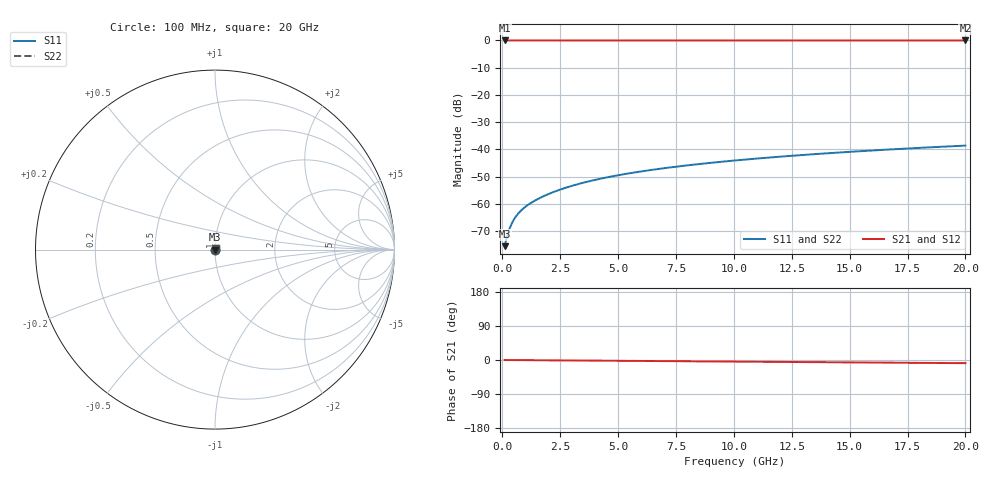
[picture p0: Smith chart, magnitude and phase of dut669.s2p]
! Touchstone file exported from HFSS 2026.1.0
!  File:  C:/ffzhzh/LocalFiles/Ansys_Project_Files/temp_train_TSV_669_1783027062_4048.aedt
!  Generated:  05:19:32 AM Jul  3, 2026
!  Design:  TSV
!  Project:  temp_train_TSV_669_1783027062_4048
! Variables:
!  h_bsmrdl = 2um
!  h_ox = 20um
!  h_rdl = 5um
!  h_sub = 83.71um
!  h_tmrdl = 5um
!  h_tsv = 83.71um
!  h_via = 3um
!  l_bsmrdl = 300um
!  l_sub = 419.98um
!  l_tmrdl = 200um
!  m_sub = 200um
!  pitch = 44.19um
!  r_tsv = 9.99um
!  s_tmrdl = 10um
!  w_bsmrdl = 18um
!  w_sub = 500um
!  w_tmrdl = 12um
!  x_tsv_center1 = 206um
!  x_tsv_center2 = 524um
!  x_tsv_center3 = 736um
!  x_tsv_center4 = 1054um
!  x_tsv_center5 = 1266um
!  x_tsv_center6 = 1584um
# GHz S MA R 50.000000
! Terminal data exported
! Port[1] = TSV1_1_T1
! Port[2] = TSV1_1_T2
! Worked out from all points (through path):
!   200 points, 100 MHz to 20 GHz, reference 50 ohm
!   highest |S21| = 0.00 dB at 100 MHz (marker M1); lowest = 0.0 dB at 20 GHz (marker M2)
!   group delay of S21, straight-line fit = 1.16 ps
!   lowest |S11| = -75.5 dB at 100 MHz (marker M3), VSWR 1.00, Z = 50 + j0.0103 ohm
!   |S11| at or under -10 dB: start of sweep to end of sweep
!   |S22| runs from -75.5 to -38.6 dB; largest |S21 - S12| = 4.4e-15
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0.1  0.0001671 37.9  0.9999 -0.0  0.9999 -0.0  0.0001671 37.9
! Gamma 0 0 0 0
! Port Impedance 50 0 50 0
0.2  0.0002485 54.6  0.9999 -0.1  0.9999 -0.1  0.0002485 54.6
0.3  0.000339 61.3  0.9998 -0.1  0.9998 -0.1  0.000339 61.3
0.4  0.0004286 64.4  0.9998 -0.2  0.9998 -0.2  0.0004286 64.4
0.5  0.0005143 65.9  0.9998 -0.2  0.9998 -0.2  0.0005143 65.9
0.6  0.0005955 66.8  0.9998 -0.3  0.9998 -0.3  0.0005955 66.8
0.7  0.0006724 67.4  0.9997 -0.3  0.9997 -0.3  0.0006724 67.4
0.8  0.0007457 67.9  0.9997 -0.3  0.9997 -0.3  0.0007457 67.9
1  0.000884 68.7  0.9997 -0.4  0.9997 -0.4  0.000884 68.7
1.4  0.001143 70.4  0.9996 -0.6  0.9996 -0.6  0.001143 70.4
1.7  0.001331 71.5  0.9996 -0.7  0.9996 -0.7  0.001331 71.5
2  0.001518 72.5  0.9996 -0.9  0.9996 -0.9  0.001518 72.5
2.7  0.001952 74.2  0.9995 -1.1  0.9995 -1.1  0.001952 74.2
3.5  0.002445 75.4  0.9994 -1.5  0.9994 -1.5  0.002445 75.4
4.2  0.002871 76.0  0.9994 -1.8  0.9994 -1.8  0.002871 76.0
5  0.00335 76.5  0.9993 -2.1  0.9993 -2.1  0.00335 76.5
6.8  0.004405 76.9  0.9992 -2.9  0.9992 -2.9  0.004405 76.9
8.3  0.005266 77.1  0.9991 -3.5  0.9991 -3.5  0.005266 77.1
10.1  0.006286 77.1  0.999 -4.2  0.999 -4.2  0.006286 77.1
13.4  0.008132 76.7  0.9989 -5.6  0.9989 -5.6  0.008132 76.7
16.7  0.009949 76.0  0.9987 -7.0  0.9987 -7.0  0.009949 76.0
20  0.01173 75.1  0.9986 -8.4  0.9986 -8.4  0.01173 75.1
